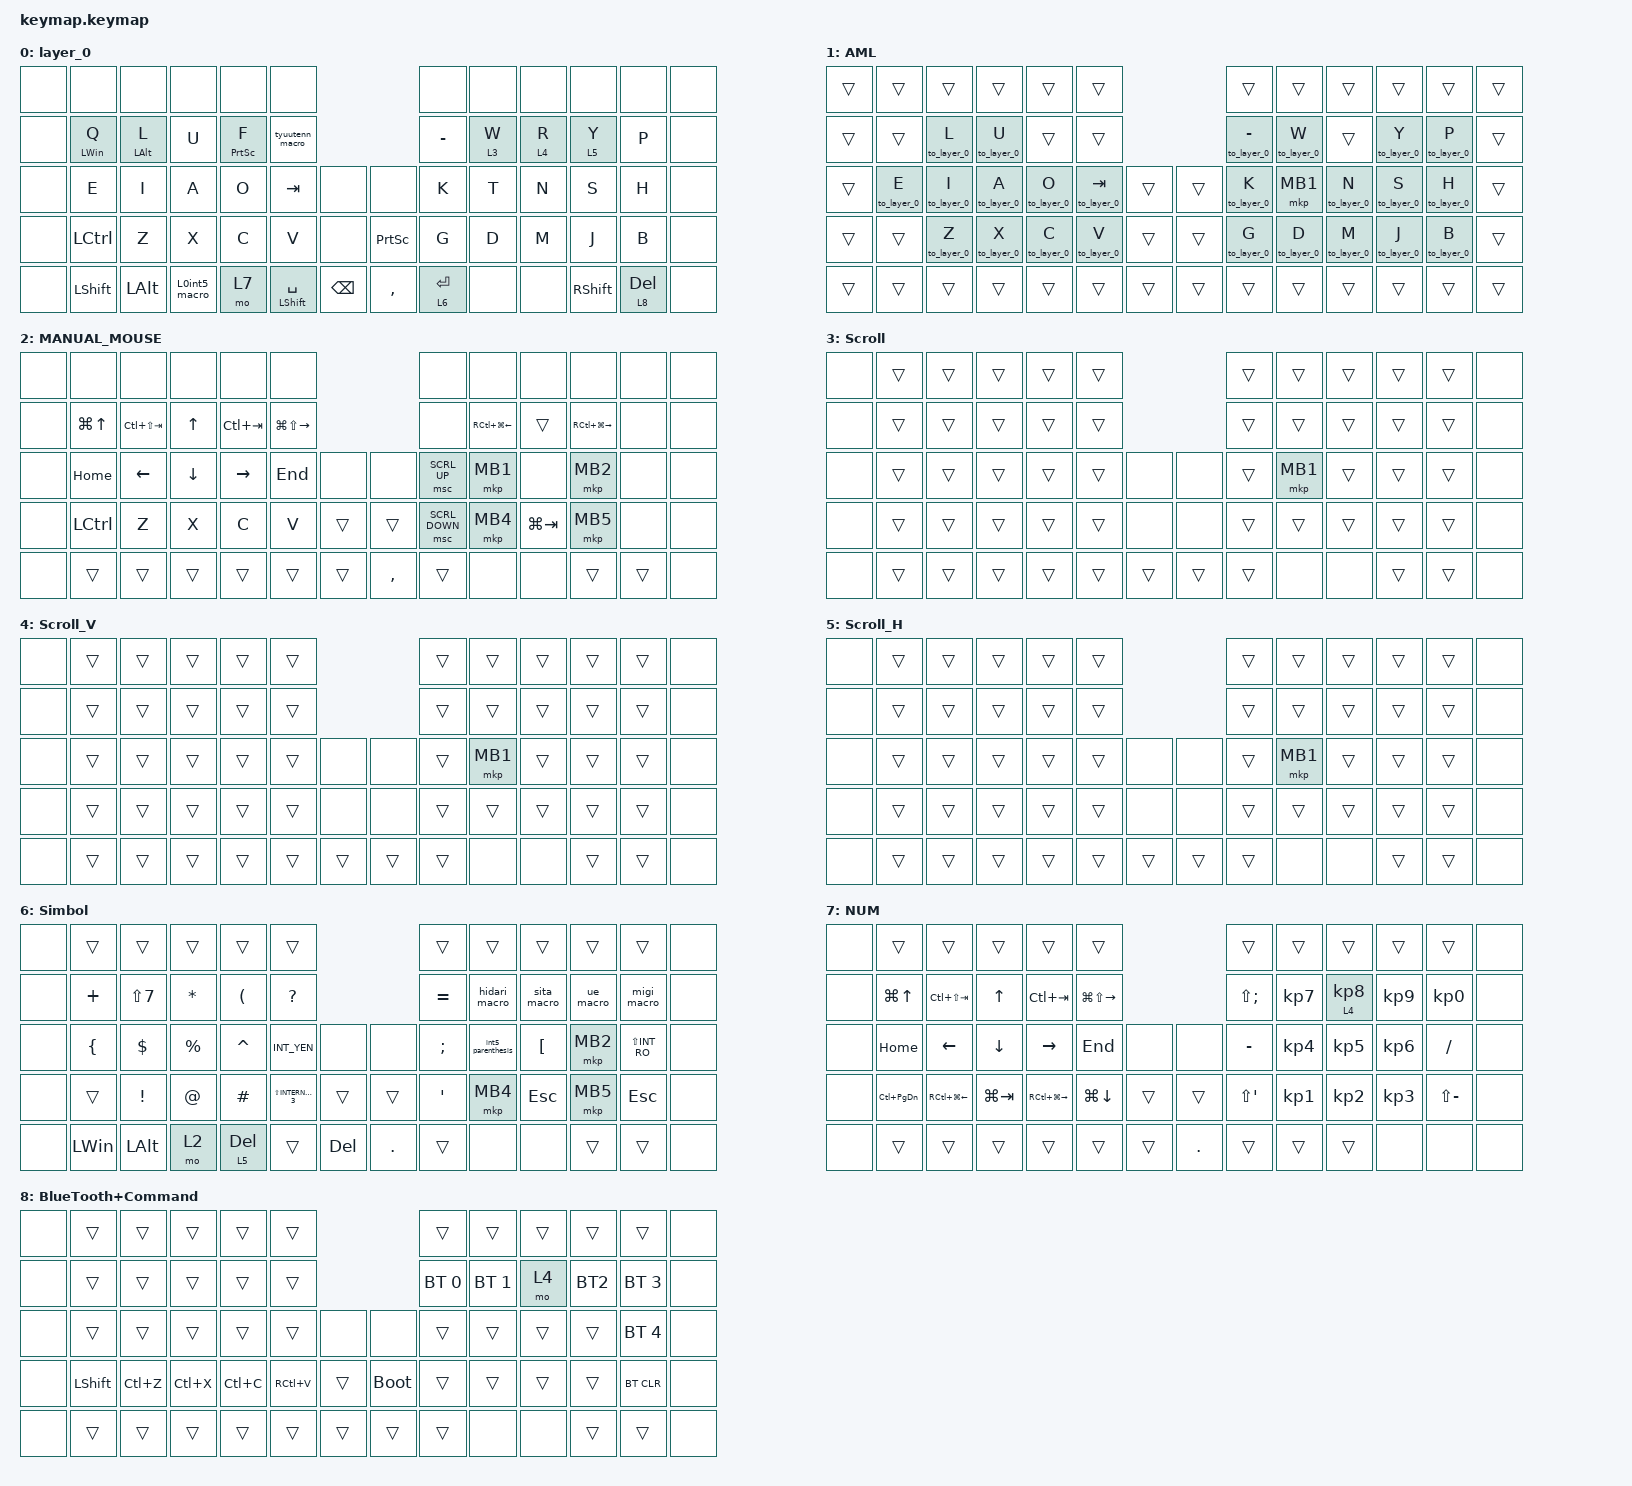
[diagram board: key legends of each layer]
#include <behaviors.dtsi>
#include <dt-bindings/zmk/bt.h>
#include <dt-bindings/zmk/keys.h>
#include <dt-bindings/zmk/pointing.h>

/ {
    combos {
        compatible = "zmk,combos";

        L0int4 {
            bindings = <&L0int4_macro>;
            key-positions = <34 33>;
        };

        L0int5 {
            bindings = <&L0int5_macro>;
            key-positions = <28 27>;
        };

        PW {
            bindings = <&pa_macro>;
            key-positions = <13 22>;
        };

        gid {
            bindings = <&GID_macro>;
            key-positions = <13 21>;
        };

        to_manualmouse {
            bindings = <&tog 2>;
            key-positions = <21 22>;
        };

        zikken {
            bindings = <&kp E>;
            key-positions = <58 57>;
        };
    };

    macros {
        to_layer_0: to_layer_0 {
            compatible = "zmk,behavior-macro-one-param";
            #binding-cells = <1>;
            bindings = <&to 0 &macro_param_1to1 &kp MACRO_PLACEHOLDER>;
            label = "TO_LAYER_0";
        };

        mkp_exit_AML: mkp_exit_AML {
            compatible = "zmk,behavior-macro-one-param";
            #binding-cells = <1>;
            bindings =
                <&macro_press>,
                <&macro_param_1to1 &mkp MACRO_PLACEHOLDER>,
                <&macro_pause_for_release>,
                <&macro_release>,
                <&macro_param_1to1 &mkp MACRO_PLACEHOLDER>,
                <&macro_tap>,
                <&sl 2>;

            label = "MKP_EXIT_AML";
        };

        parenthesis: parenthesis {
            compatible = "zmk,behavior-macro";
            #binding-cells = <0>;
            bindings = <&kp ASTERISK &kp LEFT_PARENTHESIS &kp LEFT_ARROW>;
            label = "PARENTHESIS";
        };

        int5_parenthesis: int5_parenthesis {
            compatible = "zmk,behavior-macro";
            #binding-cells = <0>;
            bindings = <&kp INTERNATIONAL_5 &kp ASTERISK &kp LEFT_PARENTHESIS &kp LEFT_ARROW>;
            label = "int5_parenthesis";
        };

        pa_macro: pa_macro {
            compatible = "zmk,behavior-macro";
            #binding-cells = <0>;
            label = "Pa";
            bindings = <&kp INTERNATIONAL_5 &kp N0 &kp LS(K) &kp A &kp K &kp O &kp N1 &kp LS(M) &kp I &kp R &kp A &kp I &kp EXCLAMATION &kp N0 &kp N2>;
        };

        GID_macro: GID_macro {
            compatible = "zmk,behavior-macro";
            #binding-cells = <0>;
            label = "GID";
            bindings = <&kp INTERNATIONAL_5 &kp N0 &kp N0 &kp N2 &kp N0 &kp N2 &kp N2 &kp N5 &kp N1 &kp N8 &kp N9 &kp TAB>;
        };

        hidari_macro: hidari_macro {
            compatible = "zmk,behavior-macro";
            #binding-cells = <0>;
            label = "hidari";
            bindings = <&kp INTERNATIONAL_4 &kp H &kp I &kp D &kp A &kp R &kp I &kp SPACE>;
        };

        sita_macro: sita_macro {
            compatible = "zmk,behavior-macro";
            #binding-cells = <0>;
            label = "sita";
            bindings = <&kp INTERNATIONAL_4 &kp S &kp I &kp T &kp A &kp SPACE>;
        };

        ue_macro: ue_macro {
            compatible = "zmk,behavior-macro";
            #binding-cells = <0>;
            label = "ue";
            bindings = <&kp INTERNATIONAL_4 &kp U &kp E &kp SPACE>;
        };

        migi_macro: migi_macro {
            compatible = "zmk,behavior-macro";
            #binding-cells = <0>;
            label = "migi";
            bindings = <&kp INTERNATIONAL_4 &kp M &kp I &kp G &kp I &kp SPACE>;
        };

        tyuutenn_macro: tyuutenn_macro {
            compatible = "zmk,behavior-macro";
            #binding-cells = <0>;
            label = "tyuutenn";
            bindings = <&kp INTERNATIONAL_4 &kp SLASH>;
        };

        L0int4_macro: L0int4_macro {
            compatible = "zmk,behavior-macro";
            #binding-cells = <0>;
            label = "L0int4";
            bindings = <&to 0 &kp INTERNATIONAL_4>;
        };

        L0int5_macro: L0int5_macro {
            compatible = "zmk,behavior-macro";
            #binding-cells = <0>;
            label = "L0int5";
            bindings = <&to 0 &kp INTERNATIONAL_5>;
        };

        exit_to_0: exit_to_0 {
            compatible = "zmk,behavior-macro";
            #binding-cells = <0>;
            bindings = <&to 0>;
        };

        BT2: BT2 {
            compatible = "zmk,behavior-macro";
            #binding-cells = <0>;
            bindings = <&bt BT_SEL 2>, <&macro_wait_time 200>, <&to 0>;

            label = "BT3";
        };

        android_henkan: android_henkan {
            compatible = "zmk,behavior-macro";
            #binding-cells = <0>;
            bindings = <&to 0 &kp LC(SPACE)>;
            label = "ANDROID_HENKAN";
        };

        A_parenthesis: A_pararent {
            compatible = "zmk,behavior-macro";
            #binding-cells = <0>;
            bindings = <&kp LEFT_PARENTHESIS &kp RIGHT_PARENTHESIS &kp LEFT>;
            label = "A_PARARENT";
        };

        TeamsMute: excel_pagedown {
            compatible = "zmk,behavior-macro";
            #binding-cells = <0>;
            bindings = <&none>;
            label = "EXCEL_PAGEDOWN";
        };

        mo_to_0: mo_to_0 {
            compatible = "zmk,behavior-hold-tap";
            label = "MO_TO_0";
            bindings = <&mo>, <&to>;

            #binding-cells = <2>;
            tapping-term-ms = <0>;
        };

        mo_exit_0: mo_exit_0 {
            compatible = "zmk,behavior-hold-tap";
            label = "MO_EXIT_0";
            bindings = <&mo>, <&to>;

            #binding-cells = <2>;
            tapping-term-ms = <0>;
        };
    };

    behaviors {
        lt_to_layer_0: lt_to_layer_0 {
            compatible = "zmk,behavior-hold-tap";
            label = "LAYER_TAP_TO_0";
            bindings = <&mo>, <&to_layer_0>;

            #binding-cells = <2>;
            tapping-term-ms = <200>;
        };

        scroll_up_down: behavior_sensor_rotate_mouse_wheel_up_down {
            compatible = "zmk,behavior-sensor-rotate";
            #sensor-binding-cells = <0>;
            bindings = <&msc SCRL_DOWN>, <&msc SCRL_UP>;

            // 追加: スクロールのタップ時間を設定 (20ms)

            tap-ms = <20>;
        };

        scroll_left_right: behavior_sensor_rotate_mouse_wheel_left_right {
            compatible = "zmk,behavior-sensor-rotate";
            #sensor-binding-cells = <0>;
            bindings = <&msc SCRL_RIGHT>, <&msc SCRL_LEFT>;

            tap-ms = <20>;
        };

        volume_up_down: behavior_sensor_rotate_volume {
            compatible = "zmk,behavior-sensor-rotate";
            #sensor-binding-cells = <0>;
            bindings = <&kp C_VOL_DN &kp C_VOL_UP>;  // 左, 右
            tap-ms = <20>;
        };

        brightness_up_down: behavior_sensor_rotate_brightness {
            compatible = "zmk,behavior-sensor-rotate";
            #sensor-binding-cells = <0>;
            bindings = <&kp C_BRI_DN &kp C_BRI_UP>;  // 左, 右
            tap-ms = <20>;
        };

        multi_tap_tab_bspc: behavior_multi_tap {
            label = "MT_TAB_BSPC";
            #binding-cells = <0>;
            bindings = <&kp TAB>, <&kp BSPC>;

            max-taps = <2>;
            max-tap-interrupt-ms = <250>;
        };
    };

    keymap {
        compatible = "zmk,keymap";

        layer_0 {
            bindings = <
&none  &none           &none           &none          &none              &none                                                 &none        &none    &none    &none            &none         &none
&none  &mt LEFT_WIN Q  &mt LEFT_ALT L  &kp U          &mt PRINTSCREEN F  &tyuutenn_macro                                       &kp MINUS    &lt 3 W  &lt 4 R  &lt 5 Y          &kp P         &none
&none  &kp E           &kp I           &kp A          &kp O              &kp TAB               &none          &none            &kp K        &kp T    &kp N    &kp S            &kp H         &none
&none  &kp LCTRL       &kp Z           &kp X          &kp C              &kp V                 &none          &kp PRINTSCREEN  &kp G        &kp D    &kp M    &kp J            &kp B         &none
&none  &kp LEFT_SHIFT  &kp LEFT_ALT    &L0int5_macro  &mo 7              &mt LEFT_SHIFT SPACE  &kp BACKSPACE  &kp COMMA        &lt 6 ENTER  &none    &none    &kp RIGHT_SHIFT  &lt 8 DELETE  &none
            >;
        };

        AML {
            bindings = <
&trans  &trans         &trans         &trans         &trans         &trans                           &trans             &trans         &trans         &trans         &trans         &trans
&trans  &trans         &to_layer_0 L  &to_layer_0 U  &trans         &trans                           &to_layer_0 MINUS  &to_layer_0 W  &trans         &to_layer_0 Y  &to_layer_0 P  &trans
&trans  &to_layer_0 E  &to_layer_0 I  &to_layer_0 A  &to_layer_0 O  &to_layer_0 TAB  &trans  &trans  &to_layer_0 K      &mkp MB1       &to_layer_0 N  &to_layer_0 S  &to_layer_0 H  &trans
&trans  &trans         &to_layer_0 Z  &to_layer_0 X  &to_layer_0 C  &to_layer_0 V    &trans  &trans  &to_layer_0 G      &to_layer_0 D  &to_layer_0 M  &to_layer_0 J  &to_layer_0 B  &trans
&trans  &trans         &trans         &trans         &trans         &trans           &trans  &trans  &trans             &trans         &trans         &trans         &trans         &trans
            >;
        };

        MANUAL_MOUSE {
            bindings = <
&none  &none             &none            &none           &none            &none                                       &none           &none             &none        &none                    &none   &none
&none  &kp LG(UP_ARROW)  &kp LC(LS(TAB))  &kp UP_ARROW    &kp LC(TAB)      &kp LG(LS(RIGHT_ARROW))                     &none           &kp RC(LG(LEFT))  &trans       &kp RC(LG(RIGHT_ARROW))  &none   &none
&none  &kp HOME          &kp LEFT_ARROW   &kp DOWN_ARROW  &kp RIGHT_ARROW  &kp END                  &none   &none      &msc SCRL_UP    &mkp MB1          &none        &mkp MB2                 &none   &none
&none  &kp LCTRL         &kp Z            &kp X           &kp C            &kp V                    &trans  &trans     &msc SCRL_DOWN  &mkp MB4          &kp LG(TAB)  &mkp MB5                 &none   &none
&none  &trans            &trans           &trans          &trans           &trans                   &trans  &kp COMMA  &trans          &none             &none        &trans                   &trans  &none
            >;
        };

        Scroll {
            bindings = <
&none  &trans  &trans  &trans  &trans  &trans                  &trans  &trans    &trans  &trans  &trans  &none
&none  &trans  &trans  &trans  &trans  &trans                  &trans  &trans    &trans  &trans  &trans  &none
&none  &trans  &trans  &trans  &trans  &trans  &none   &none   &trans  &mkp MB1  &trans  &trans  &trans  &none
&none  &trans  &trans  &trans  &trans  &trans  &none   &none   &trans  &trans    &trans  &trans  &trans  &none
&none  &trans  &trans  &trans  &trans  &trans  &trans  &trans  &trans  &none     &none   &trans  &trans  &none
            >;
        };

        Scroll_V {
            bindings = <
&none  &trans  &trans  &trans  &trans  &trans                  &trans  &trans    &trans  &trans  &trans  &none
&none  &trans  &trans  &trans  &trans  &trans                  &trans  &trans    &trans  &trans  &trans  &none
&none  &trans  &trans  &trans  &trans  &trans  &none   &none   &trans  &mkp MB1  &trans  &trans  &trans  &none
&none  &trans  &trans  &trans  &trans  &trans  &none   &none   &trans  &trans    &trans  &trans  &trans  &none
&none  &trans  &trans  &trans  &trans  &trans  &trans  &trans  &trans  &none     &none   &trans  &trans  &none
            >;
        };

        Scroll_H {
            bindings = <
&none  &trans  &trans  &trans  &trans  &trans                  &trans  &trans    &trans  &trans  &trans  &none
&none  &trans  &trans  &trans  &trans  &trans                  &trans  &trans    &trans  &trans  &trans  &none
&none  &trans  &trans  &trans  &trans  &trans  &none   &none   &trans  &mkp MB1  &trans  &trans  &trans  &none
&none  &trans  &trans  &trans  &trans  &trans  &none   &none   &trans  &trans    &trans  &trans  &trans  &none
&none  &trans  &trans  &trans  &trans  &trans  &trans  &trans  &trans  &none     &none   &trans  &trans  &none
            >;
        };

        Simbol {
            bindings = <
&none  &trans          &trans           &trans        &trans                &trans                                           &trans            &trans             &trans            &trans     &trans          &none
&none  &kp PLUS        &kp LS(N7)       &kp ASTERISK  &kp LEFT_PARENTHESIS  &kp QUESTION                                     &kp EQUAL         &hidari_macro      &sita_macro       &ue_macro  &migi_macro     &none
&none  &kp LEFT_BRACE  &kp DOLLAR       &kp PERCENT   &kp CARET             &kp INT_YEN              &none       &none       &kp SEMICOLON     &int5_parenthesis  &kp LEFT_BRACKET  &mkp MB2   &kp LS(INT_RO)  &none
&none  &trans          &kp EXCLAMATION  &kp AT_SIGN   &kp HASH              &kp LS(INTERNATIONAL_3)  &trans      &trans      &kp SINGLE_QUOTE  &mkp MB4           &kp ESCAPE        &mkp MB5   &kp ESCAPE      &none
&none  &kp LEFT_WIN    &kp LEFT_ALT     &mo 2         &lt 5 DELETE          &trans                   &kp DELETE  &kp PERIOD  &trans            &none              &none             &trans     &trans          &none
            >;
        };

        NUM {
            bindings = <
&none  &trans             &trans                  &trans          &trans                   &trans                                       &trans                &trans     &trans       &trans     &trans         &none
&none  &kp LG(UP_ARROW)   &kp LC(LS(TAB))         &kp UP_ARROW    &kp LC(TAB)              &kp LG(LS(RIGHT_ARROW))                      &kp LS(SEMICOLON)     &kp KP_N7  &lt 4 KP_N8  &kp KP_N9  &kp KP_N0      &none
&none  &kp HOME           &kp LEFT_ARROW          &kp DOWN_ARROW  &kp RIGHT_ARROW          &kp END                  &none   &none       &kp MINUS             &kp KP_N4  &kp KP_N5    &kp KP_N6  &kp SLASH      &none
&none  &kp LC(PAGE_DOWN)  &kp RC(LG(LEFT_ARROW))  &kp LG(TAB)     &kp RC(LG(RIGHT_ARROW))  &kp LG(DOWN_ARROW)       &trans  &trans      &kp LS(SINGLE_QUOTE)  &kp KP_N1  &kp KP_N2    &kp KP_N3  &kp LS(MINUS)  &none
&none  &trans             &trans                  &trans          &trans                   &trans                   &trans  &kp PERIOD  &trans                &trans     &trans       &none      &none          &none
            >;
        };

        BlueTooth+Command {
            bindings = <
&none  &trans          &trans     &trans     &trans     &trans                          &trans        &trans        &trans  &trans  &trans        &none
&none  &trans          &trans     &trans     &trans     &trans                          &bt BT_SEL 0  &bt BT_SEL 1  &mo 4   &BT2    &bt BT_SEL 3  &none
&none  &trans          &trans     &trans     &trans     &trans     &none   &none        &trans        &trans        &trans  &trans  &bt BT_SEL 4  &none
&none  &kp LEFT_SHIFT  &kp LC(Z)  &kp LC(X)  &kp LC(C)  &kp RC(V)  &trans  &bootloader  &trans        &trans        &trans  &trans  &bt BT_CLR    &none
&none  &trans          &trans     &trans     &trans     &trans     &trans  &trans       &trans        &none         &none   &trans  &trans        &none
            >;
        };
    };
};
